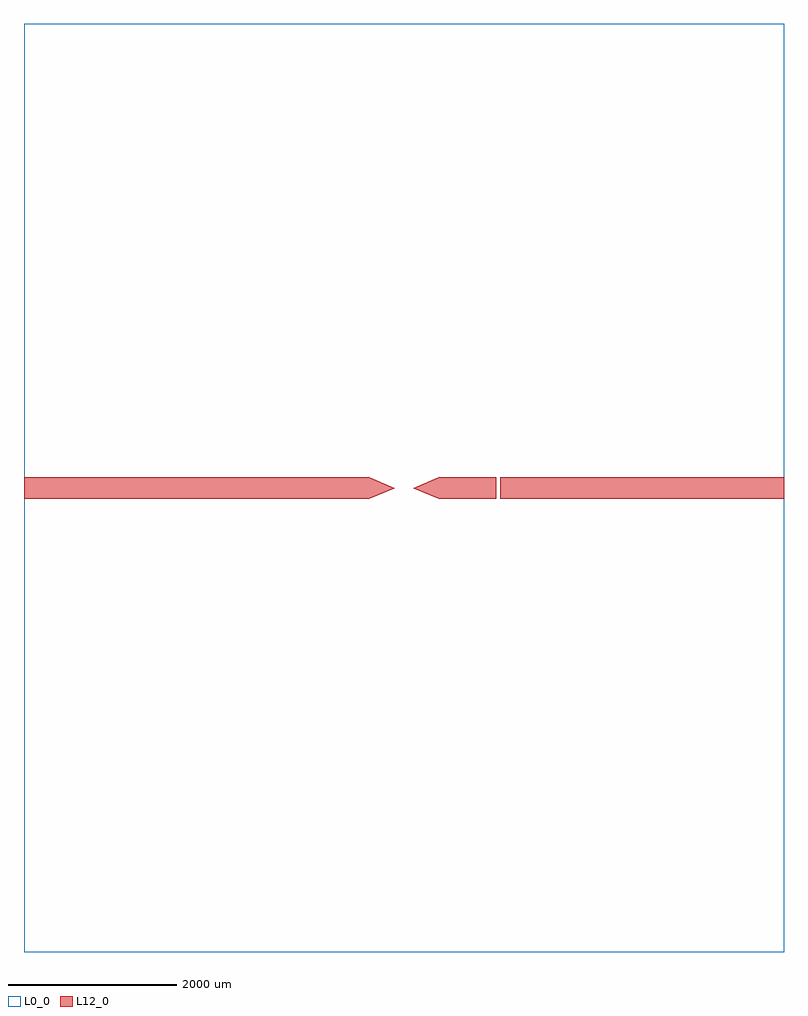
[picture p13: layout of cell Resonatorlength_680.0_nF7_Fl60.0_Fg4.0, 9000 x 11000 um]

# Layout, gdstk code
import gdstk
lib = gdstk.Library(unit=1e-6, precision=1e-09)
def R(c, l, rs):  # rectangles x0, y0, x1, y1
    for r in rs: c.add(gdstk.rectangle(r[:2], r[2:], *l))
def P(c, l, *ps):  # polygons
    for p in ps: c.add(gdstk.Polygon(p, *l))
L0_0 = (0, 0)
L12_0 = (12, 0)

resonatorlength_680_0_nf = lib.new_cell('Resonatorlength_680.0_nF7_Fl60.0_Fg4.0')
R(resonatorlength_680_0_nf, L0_0, [(-4500,-5500,4500,5500)])
R(resonatorlength_680_0_nf, L12_0, [(-4500,-125,-1156,125), (-1156,-125,-1096,-92.714), (-1092,-125,-412,125), (412,-125,1092,125), (1142,-125,4500,125), (-1152,-88.714,-1092,-56.429), (-1156,-52.429,-1096,-20.143), (-1152,-16.143,-1092,16.143), (-1156,20.143,-1096,52.429), (-1152,56.429,-1092,88.714), (-1156,92.714,-1096,125)])
P(resonatorlength_680_0_nf, L12_0, [(-412,125),(-412,-125),(-108.5,0)],
  [(412,125),(412,-125),(108.5,0)])

lib.write_gds('Resonatorlength_680.0_nF7_Fl60.0_Fg4.0.gds')
